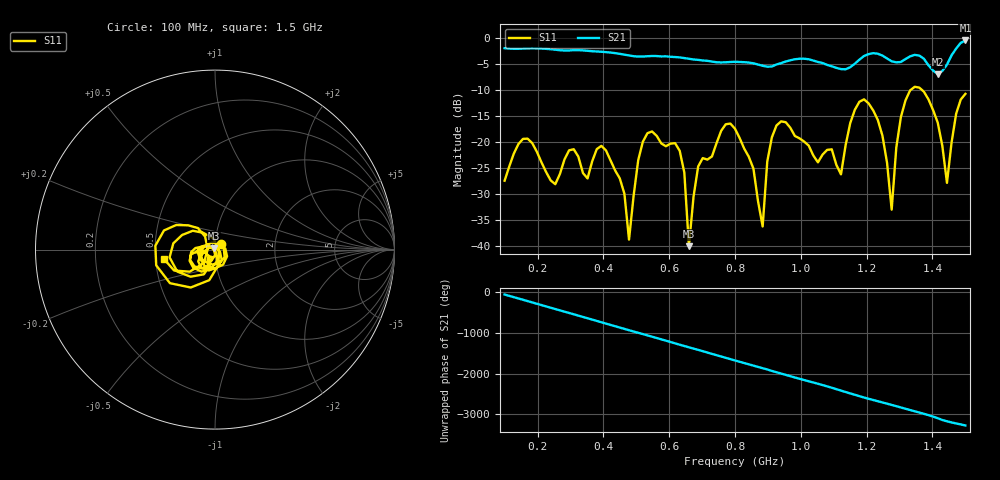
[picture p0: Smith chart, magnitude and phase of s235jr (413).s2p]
! NanoVNA-App
! Date: 2025-09-25 15:07:22
! Start: 100MHz Stop: 1,5GHz Points: 101
! S-Parameter data: F S11 S21 S12 S22
# Hz S RI R 50
!  Frequency  S11_Real  S11_Imag  S21_Real  S21_Imag  S12_Real  S12_Imag  S22_Real  S22_Imag
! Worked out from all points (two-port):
!   101 points, 100 MHz to 1.5 GHz, reference 50 ohm
!   highest |S21| = -0.48 dB at 1.5 GHz (marker M1); lowest = -7.0 dB at 1.416 GHz (marker M2)
!   |S21| within 3 dB of the highest: start of sweep to 489.2 MHz; 1.192 GHz to 1.25 GHz (58.39 MHz wide, 4.78 % of centre) (the widest 2 of 5)
!   lowest |S11| = -40.1 dB at 660 MHz (marker M3), VSWR 1.02, Z = 49.2 + j0.632 ohm
!   |S11| at or under -10 dB: start of sweep to 1.334 GHz; 1.368 GHz to end of sweep
!   S12 and S22 are empty: the file has one direction only
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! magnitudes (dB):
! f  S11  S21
! 100 MHz  -27.5  -2.0
! 156 MHz  -19.4  -2.0
! 338 MHz  -26.0  -2.4
! 408 MHz  -21.6  -2.7
! 478 MHz  -38.8  -3.4
! 520 MHz  -20.0  -3.6
! 576 MHz  -20.3  -3.6
! 632 MHz  -21.7  -3.7
! 660 MHz  -40.1  -4.0
! 688 MHz  -24.7  -4.2
! 800 MHz  -17.5  -4.6
! 884 MHz  -36.3  -5.3
! 926 MHz  -16.8  -5.1
! 1.038 GHz  -22.6  -4.4
! 1.122 GHz  -26.2  -6.0
! 1.192 GHz  -11.8  -3.5
! 1.248 GHz  -18.8  -3.4
! 1.276 GHz  -33.0  -4.5
! 1.332 GHz  -10.1  -3.5
! 1.416 GHz  -16.3  -7.0
! 1.444 GHz  -27.9  -5.1
! 1.5 GHz  -10.8  -0.5
